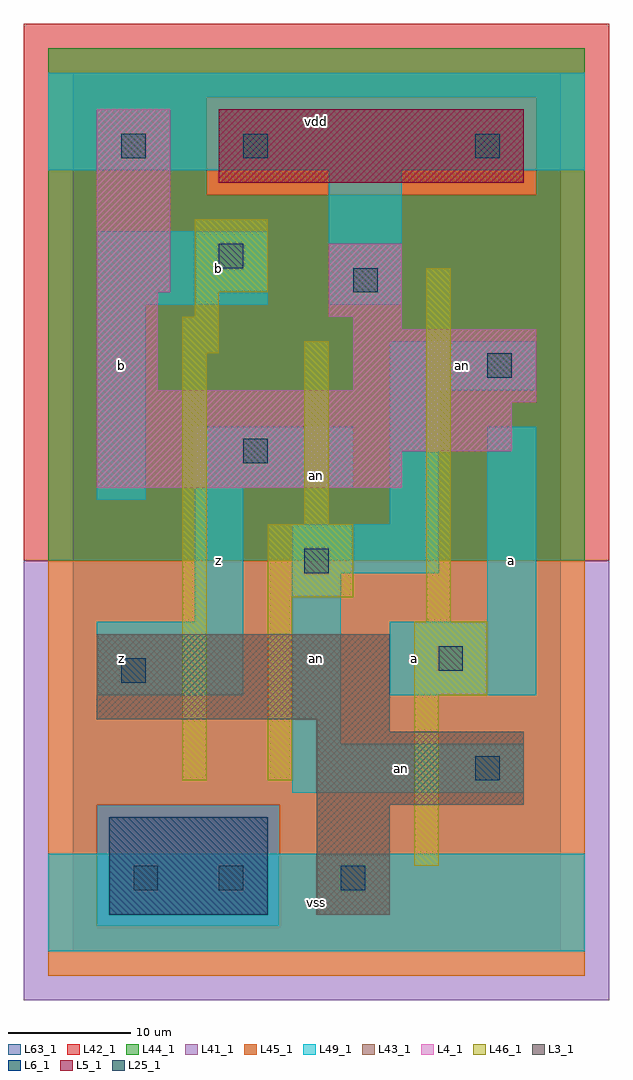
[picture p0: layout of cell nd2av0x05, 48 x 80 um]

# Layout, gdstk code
import gdstk
lib = gdstk.Library(unit=1e-6, precision=1e-09)
def R(c, l, rs):  # rectangles x0, y0, x1, y1
    for r in rs: c.add(gdstk.rectangle(r[:2], r[2:], *l))
L3_1 = (3, 1)
L4_1 = (4, 1)
L5_1 = (5, 1)
L6_1 = (6, 1)
L25_1 = (25, 1)
L41_1 = (41, 1)
L42_1 = (42, 1)
L43_1 = (43, 1)
L44_1 = (44, 1)
L45_1 = (45, 1)
L46_1 = (46, 1)
L49_1 = (49, 1)
L63_1 = (63, 1)

nd2av0x05 = lib.new_cell('nd2av0x05')
R(nd2av0x05, L3_1, [(20,3,26,12), (20,12,37,18), (20,18,26,19), (2,19,26,26)])
R(nd2av0x05, L4_1, [(2,38,27,41), (2,41,36,45), (2,45,38,46), (2,46,7,54), (23,46,38,51), (23,51,27,52), (21,52,27,58), (2,54,8,69)])
R(nd2av0x05, L5_1, [(12,63,37,69)])
R(nd2av0x05, L6_1, [(3,3,16,11), (3,3,16,11)])
R(nd2av0x05, L25_1, [(5,5,7,7), (12,5,14,7), (22,5,24,7), (33,14,35,16), (4,22,6,24), (30,23,32,25), (19,31,21,33), (14,40,16,42), (34,47,36,49), (23,54,25,56), (12,56,14,58), (4,65,6,67), (14,65,16,67), (33,65,35,67)])
R(nd2av0x05, L41_1, [(-4,-4,44,32)])
R(nd2av0x05, L42_1, [(-4,32,44,76)])
R(nd2av0x05, L43_1, [(3,3,16,11), (20,3,26,12), (20,12,37,18), (20,18,26,19), (2,19,26,26), (2,38,27,41), (2,41,36,45), (2,45,38,46), (2,46,7,54), (23,46,38,51), (23,51,27,52), (21,52,27,58), (2,54,8,69), (12,63,37,69)])
R(nd2av0x05, L44_1, [(2,2,17,12), (-2,32,42,62), (-2,62,11,70), (38,62,42,70), (-2,70,42,74)])
R(nd2av0x05, L45_1, [(-2,-2,42,2), (-2,2,2,12), (17,2,42,12), (-2,12,42,32), (11,62,38,70)])
R(nd2av0x05, L46_1, [(28,7,30,21), (9,14,11,49), (16,14,18,29), (28,21,34,27), (29,27,31,56), (16,29,23,35), (19,35,21,50), (9,49,12,52), (10,52,12,54), (10,54,16,60)])
R(nd2av0x05, L49_1, [(-2,0,42,8), (18,13,37,17), (18,17,22,31), (2,21,14,27), (26,21,38,27), (10,27,14,38), (34,27,38,43), (18,31,30,35), (26,35,30,46), (2,37,6,53), (10,38,23,43), (26,46,38,50), (2,53,16,59), (21,53,27,64), (-2,64,42,72)])
R(nd2av0x05, L63_1, [(0,0,40,72)])
nd2av0x05.add(gdstk.Label('an', (20,39), layer=46, texttype=1))
nd2av0x05.add(gdstk.Label('z', (4,24), layer=49, texttype=1))
nd2av0x05.add(gdstk.Label('b', (4,48), layer=49, texttype=1))
nd2av0x05.add(gdstk.Label('z', (12,32), layer=49, texttype=1))
nd2av0x05.add(gdstk.Label('b', (12,56), layer=49, texttype=1))
nd2av0x05.add(gdstk.Label('vss', (20,4), layer=49, texttype=1))
nd2av0x05.add(gdstk.Label('an', (20,24), layer=49, texttype=1))
nd2av0x05.add(gdstk.Label('a', (28,24), layer=49, texttype=1))
nd2av0x05.add(gdstk.Label('z', (20,40), layer=49, texttype=1))
nd2av0x05.add(gdstk.Label('vdd', (20,68), layer=49, texttype=1))
nd2av0x05.add(gdstk.Label('an', (27,15), layer=49, texttype=1))
nd2av0x05.add(gdstk.Label('a', (36,32), layer=49, texttype=1))
nd2av0x05.add(gdstk.Label('an', (32,48), layer=49, texttype=1))

lib.write_gds('nd2av0x05.gds')
